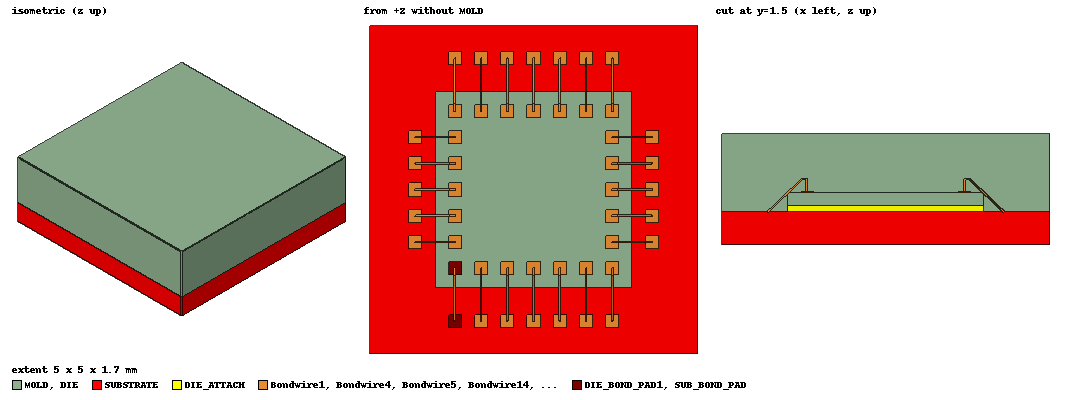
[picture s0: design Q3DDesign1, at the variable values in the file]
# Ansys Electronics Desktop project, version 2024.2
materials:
  vacuum: permittivity=1
  copper: permeability=0.999991 conductivity=58000000
  silicon: permittivity=11.9
  FR4_epoxy: permittivity=4.4 dielectric_loss_tangent=0.02
  modified_epoxy: permittivity=4.2 dielectric_loss_tangent=0.02
  Al-Extruded
  air: permittivity=1.0006 permeability=1.0000004
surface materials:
  Steel-oxidised-surface

design Q3DDesign1 (Q3D Extractor, model units mm)
options: SParamCalcMethod=EqTransLine Calculate_Lossy_Dielectrics
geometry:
  DIE [silicon] = rectangle(corner=(0mm, 0mm, 0mm), x_size=3mm, y_size=3mm)
  DIE.thicken(0.2mm)
  SUBSTRATE [FR4_epoxy] = rectangle(corner=(-1mm, -1mm, -0.1mm), x_size=5mm, y_size=5mm)
  SUBSTRATE.thicken(-0.5mm)
  DIE_ATTACH [modified_epoxy] = rectangle(corner=(0mm, 0mm, 0mm), x_size=3mm, y_size=3mm)
  DIE_ATTACH.thicken(-0.1mm)
  DIE_BOND_PAD [copper] = rectangle(corner=(0.2mm, 0.2mm, 0.2mm), x_size=0.2mm, y_size=0.2mm)
  DIE_BOND_PAD.thicken(0.005mm)
  SUB_BOND_PAD [copper] = rectangle(corner=(0.2mm, -0.6mm, -0.1mm), x_size=0.2mm, y_size=0.2mm)
  SUB_BOND_PAD.thicken(0.005mm)
  Bondwire1 [copper] = bondwire(WireType=JEDEC_4Points WireDiameter=0.025mm NumSides=6 XPadPos=0.3mm YPadPos=0.3mm ZPadPos=0.205mm XDir=0mm YDir=-0.8mm ZDir=0mm Distance=0.8mm h1=0.2mm h2=0.305mm alpha=80deg beta=80deg WhichAxis=Z)
  DIE_BOND_PAD1 [copper] = rectangle(corner=(0.2mm, 0.2mm, 0.2mm), x_size=0.2mm, y_size=0.2mm)
  DIE_BOND_PAD1.thicken(0.005mm)
  Rectangle1 [copper] = rectangle(corner=(0.6mm, 0.2mm, 0.2mm), x_size=0.2mm, y_size=0.2mm)
  Rectangle2 [copper] = rectangle(corner=(0.6mm, -0.6mm, -0.1mm), x_size=0.2mm, y_size=0.2mm)
  Rectangle3 [copper] = rectangle(corner=(1mm, 0.2mm, 0.2mm), x_size=0.2mm, y_size=0.2mm)
  Rectangle4 [copper] = rectangle(corner=(1mm, -0.6mm, -0.1mm), x_size=0.2mm, y_size=0.2mm)
  [Rectangle1, Rectangle2].thicken(0.005mm)
  Rectangle5 [copper] = rectangle(corner=(1.4mm, 0.2mm, 0.2mm), x_size=0.2mm, y_size=0.2mm)
  Rectangle6 [copper] = rectangle(corner=(1.4mm, -0.6mm, -0.1mm), x_size=0.2mm, y_size=0.2mm)
  Rectangle7 [copper] = rectangle(corner=(1.8mm, -0.6mm, -0.1mm), x_size=0.2mm, y_size=0.2mm)
  Rectangle8 [copper] = rectangle(corner=(1.8mm, 0.2mm, 0.2mm), x_size=0.2mm, y_size=0.2mm)
  Rectangle9 [copper] = rectangle(corner=(2.2mm, -0.6mm, -0.1mm), x_size=0.2mm, y_size=0.2mm)
  Rectangle10 [copper] = rectangle(corner=(2.2mm, 0.2mm, 0.2mm), x_size=0.2mm, y_size=0.2mm)
  Rectangle11 [copper] = rectangle(corner=(2.6mm, 0.2mm, 0.2mm), x_size=0.2mm, y_size=0.2mm)
  Rectangle12 [copper] = rectangle(corner=(2.6mm, -0.6mm, -0.1mm), x_size=0.2mm, y_size=0.2mm)
  Rectangle13 [copper] = rectangle(corner=(0.2mm, 2.6mm, 0.2mm), x_size=0.2mm, y_size=0.2mm)
  Rectangle14 [copper] = rectangle(corner=(0.2mm, 3.4mm, -0.1mm), x_size=0.2mm, y_size=0.2mm)
  Rectangle15 [copper] = rectangle(corner=(0.6mm, 2.6mm, 0.2mm), x_size=0.2mm, y_size=0.2mm)
  Rectangle16 [copper] = rectangle(corner=(0.6mm, 3.4mm, -0.1mm), x_size=0.2mm, y_size=0.2mm)
  Rectangle17 [copper] = rectangle(corner=(1mm, 2.6mm, 0.2mm), x_size=0.2mm, y_size=0.2mm)
  Rectangle18 [copper] = rectangle(corner=(1mm, 3.4mm, -0.1mm), x_size=0.2mm, y_size=0.2mm)
  Rectangle19 [copper] = rectangle(corner=(1.4mm, 2.6mm, 0.2mm), x_size=0.2mm, y_size=0.2mm)
  Rectangle20 [copper] = rectangle(corner=(1.4mm, 3.4mm, -0.1mm), x_size=0.2mm, y_size=0.2mm)
  Rectangle21 [copper] = rectangle(corner=(1.8mm, 2.6mm, 0.2mm), x_size=0.2mm, y_size=0.2mm)
  Rectangle22 [copper] = rectangle(corner=(1.8mm, 3.4mm, -0.1mm), x_size=0.2mm, y_size=0.2mm)
  Rectangle23 [copper] = rectangle(corner=(2.2mm, 2.6mm, 0.2mm), x_size=0.2mm, y_size=0.2mm)
  Rectangle24 [copper] = rectangle(corner=(2.2mm, 3.4mm, -0.1mm), x_size=0.2mm, y_size=0.2mm)
  Rectangle25 [copper] = rectangle(corner=(2.6mm, 2.6mm, 0.2mm), x_size=0.2mm, y_size=0.2mm)
  Rectangle26 [copper] = rectangle(corner=(2.6mm, 3.4mm, -0.1mm), x_size=0.2mm, y_size=0.2mm)
  [Rectangle3..Rectangle11, Rectangle13, Rectangle12, Rectangle14..Rectangle19, Rectangle21, Rectangle20, Rectangle22..Rectangle26].thicken(0.005mm)
  Rectangle27 [copper] = rectangle(corner=(2.6mm, 0.6mm, 0.2mm), x_size=0.2mm, y_size=0.2mm)
  Rectangle28 [copper] = rectangle(corner=(3.2mm, 0.6mm, -0.1mm), x_size=0.2mm, y_size=0.2mm)
  Rectangle29 [copper] = rectangle(corner=(2.6mm, 1mm, 0.2mm), x_size=0.2mm, y_size=0.2mm)
  Rectangle30 [copper] = rectangle(corner=(3.2mm, 1mm, -0.1mm), x_size=0.2mm, y_size=0.2mm)
  Rectangle31 [copper] = rectangle(corner=(2.6mm, 1.4mm, 0.2mm), x_size=0.2mm, y_size=0.2mm)
  Rectangle32 [copper] = rectangle(corner=(3.2mm, 1.4mm, -0.1mm), x_size=0.2mm, y_size=0.2mm)
  Rectangle33 [copper] = rectangle(corner=(2.6mm, 1.8mm, 0.2mm), x_size=0.2mm, y_size=0.2mm)
  Rectangle34 [copper] = rectangle(corner=(2.6mm, 2.2mm, 0.2mm), x_size=0.2mm, y_size=0.2mm)
  Rectangle35 [copper] = rectangle(corner=(3.2mm, 2.2mm, -0.1mm), x_size=0.2mm, y_size=0.2mm)
  Rectangle36 [copper] = rectangle(corner=(3.2mm, 1.8mm, -0.1mm), x_size=0.2mm, y_size=0.2mm)
  Rectangle37 [copper] = rectangle(corner=(0.2mm, 0.6mm, 0.2mm), x_size=0.2mm, y_size=0.2mm)
  Rectangle38 [copper] = rectangle(corner=(0.2mm, 1mm, 0.2mm), x_size=0.2mm, y_size=0.2mm)
  Rectangle39 [copper] = rectangle(corner=(0.2mm, 1.4mm, 0.2mm), x_size=0.2mm, y_size=0.2mm)
  Rectangle40 [copper] = rectangle(corner=(0.2mm, 1.8mm, 0.2mm), x_size=0.2mm, y_size=0.2mm)
  Rectangle41 [copper] = rectangle(corner=(0.2mm, 2.2mm, 0.2mm), x_size=0.2mm, y_size=0.2mm)
  Rectangle42 [copper] = rectangle(corner=(-0.4mm, 0.6mm, -0.1mm), x_size=0.2mm, y_size=0.2mm)
  Rectangle43 [copper] = rectangle(corner=(-0.4mm, 1mm, -0.1mm), x_size=0.2mm, y_size=0.2mm)
  Rectangle44 [copper] = rectangle(corner=(-0.4mm, 1.4mm, -0.1mm), x_size=0.2mm, y_size=0.2mm)
  Rectangle45 [copper] = rectangle(corner=(-0.4mm, 1.8mm, -0.1mm), x_size=0.2mm, y_size=0.2mm)
  Rectangle46 [copper] = rectangle(corner=(-0.4mm, 2.2mm, -0.1mm), x_size=0.2mm, y_size=0.2mm)
  [Rectangle27..Rectangle33, Rectangle35, Rectangle34, Rectangle37, Rectangle38, Rectangle39, Rectangle36, Rectangle40..Rectangle46].thicken(0.005mm)
  Bondwire2 [copper] = bondwire(WireType=JEDEC_4Points WireDiameter=0.025mm NumSides=6 XPadPos=0.7mm YPadPos=0.3mm ZPadPos=0.205mm XDir=0mm YDir=-0.8mm ZDir=0mm Distance=0.8mm h1=0.2mm h2=0.3mm alpha=80deg beta=80deg WhichAxis=Z)
  Bondwire3 [copper] = bondwire(WireType=JEDEC_4Points WireDiameter=0.025mm NumSides=6 XPadPos=1.1mm YPadPos=0.3mm ZPadPos=0.205mm XDir=0mm YDir=-0.8mm ZDir=0mm Distance=0.8mm h1=0.2mm h2=0.3mm alpha=80deg beta=80deg WhichAxis=Z)
  Bondwire4 [copper] = bondwire(WireType=JEDEC_4Points WireDiameter=0.025mm NumSides=6 XPadPos=1.5mm YPadPos=0.3mm ZPadPos=0.205mm XDir=-4.4408921e-16mm YDir=-0.8mm ZDir=0mm Distance=0.8mm h1=0.2mm h2=0.3mm alpha=80deg beta=80deg WhichAxis=Z)
  Bondwire5 [copper] = bondwire(WireType=JEDEC_4Points WireDiameter=0.025mm NumSides=6 XPadPos=1.9mm YPadPos=0.3mm ZPadPos=0.205mm XDir=-4.4408921e-16mm YDir=-0.8mm ZDir=0mm Distance=0.8mm h1=0.2mm h2=0.3mm alpha=80deg beta=80deg WhichAxis=Z)
  Bondwire6 [copper] = bondwire(WireType=JEDEC_4Points WireDiameter=0.025mm NumSides=6 XPadPos=2.3mm YPadPos=0.3mm ZPadPos=0.205mm XDir=0mm YDir=-0.8mm ZDir=0mm Distance=0.8mm h1=0.2mm h2=0.3mm alpha=80deg beta=80deg WhichAxis=Z)
  Bondwire7 [copper] = bondwire(WireType=JEDEC_4Points WireDiameter=0.025mm NumSides=6 XPadPos=2.7mm YPadPos=0.3mm ZPadPos=0.205mm XDir=0mm YDir=-0.8mm ZDir=0mm Distance=0.8mm h1=0.2mm h2=0.3mm alpha=80deg beta=80deg WhichAxis=Z)
  Bondwire8 [copper] = bondwire(WireType=JEDEC_4Points WireDiameter=0.025mm NumSides=6 XPadPos=2.7mm YPadPos=0.7mm ZPadPos=0.205mm XDir=0.6mm YDir=0mm ZDir=0mm Distance=0.6mm h1=0.2mm h2=0.3mm alpha=80deg beta=80deg WhichAxis=Z)
  Bondwire9 [copper] = bondwire(WireType=JEDEC_4Points WireDiameter=0.025mm NumSides=6 XPadPos=2.7mm YPadPos=1.1mm ZPadPos=0.205mm XDir=0.6mm YDir=0mm ZDir=0mm Distance=0.6mm h1=0.2mm h2=0.3mm alpha=80deg beta=80deg WhichAxis=Z)
  Bondwire10 [copper] = bondwire(WireType=JEDEC_4Points WireDiameter=0.025mm NumSides=6 XPadPos=2.7mm YPadPos=1.5mm ZPadPos=0.205mm XDir=0.6mm YDir=0mm ZDir=0mm Distance=0.6mm h1=0.2mm h2=0.3mm alpha=80deg beta=80deg WhichAxis=Z)
  Bondwire11 [copper] = bondwire(WireType=JEDEC_4Points WireDiameter=0.025mm NumSides=6 XPadPos=2.7mm YPadPos=1.9mm ZPadPos=0.205mm XDir=0.6mm YDir=0mm ZDir=0mm Distance=0.6mm h1=0.2mm h2=0.3mm alpha=80deg beta=80deg WhichAxis=Z)
  Bondwire12 [copper] = bondwire(WireType=JEDEC_4Points WireDiameter=0.025mm NumSides=6 XPadPos=2.7mm YPadPos=2.3mm ZPadPos=0.205mm XDir=0.6mm YDir=0mm ZDir=0mm Distance=0.6mm h1=0.2mm h2=0.3mm alpha=80deg beta=80deg WhichAxis=Z)
  Bondwire13 [copper] = bondwire(WireType=JEDEC_4Points WireDiameter=0.025mm NumSides=6 XPadPos=2.7mm YPadPos=2.7mm ZPadPos=0.205mm XDir=0mm YDir=0.8mm ZDir=0mm Distance=0.8mm h1=0.2mm h2=0.3mm alpha=80deg beta=80deg WhichAxis=Z)
  Bondwire14 [copper] = bondwire(WireType=JEDEC_4Points WireDiameter=0.025mm NumSides=6 XPadPos=2.3mm YPadPos=2.7mm ZPadPos=0.205mm XDir=4.4408921e-16mm YDir=0.8mm ZDir=0mm Distance=0.8mm h1=0.2mm h2=0.3mm alpha=80deg beta=80deg WhichAxis=Z)
  Bondwire15 [copper] = bondwire(WireType=JEDEC_4Points WireDiameter=0.025mm NumSides=6 XPadPos=1.9mm YPadPos=2.7mm ZPadPos=0.205mm XDir=-4.4408921e-16mm YDir=0.8mm ZDir=0mm Distance=0.8mm h1=0.2mm h2=0.3mm alpha=80deg beta=80deg WhichAxis=Z)
  Bondwire16 [copper] = bondwire(WireType=JEDEC_4Points WireDiameter=0.025mm NumSides=6 XPadPos=1.5mm YPadPos=2.7mm ZPadPos=0.205mm XDir=-2.220446e-16mm YDir=0.8mm ZDir=0mm Distance=0.8mm h1=0.2mm h2=0.3mm alpha=80deg beta=80deg WhichAxis=Z)
  Bondwire17 [copper] = bondwire(WireType=JEDEC_4Points WireDiameter=0.025mm NumSides=6 XPadPos=1.1mm YPadPos=2.7mm ZPadPos=0.205mm XDir=-2.220446e-16mm YDir=0.8mm ZDir=0mm Distance=0.8mm h1=0.2mm h2=0.3mm alpha=80deg beta=80deg WhichAxis=Z)
  Bondwire18 [copper] = bondwire(WireType=JEDEC_4Points WireDiameter=0.025mm NumSides=6 XPadPos=0.7mm YPadPos=2.7mm ZPadPos=0.205mm XDir=0mm YDir=0.8mm ZDir=0mm Distance=0.8mm h1=0.2mm h2=0.3mm alpha=80deg beta=80deg WhichAxis=Z)
  Bondwire19 [copper] = bondwire(WireType=JEDEC_4Points WireDiameter=0.025mm NumSides=6 XPadPos=0.3mm YPadPos=2.7mm ZPadPos=0.205mm XDir=5.5511151e-17mm YDir=0.8mm ZDir=0mm Distance=0.8mm h1=0.2mm h2=0.3mm alpha=80deg beta=80deg WhichAxis=Z)
  Bondwire20 [copper] = bondwire(WireType=JEDEC_4Points WireDiameter=0.025mm NumSides=6 XPadPos=0.3mm YPadPos=2.3mm ZPadPos=0.205mm XDir=-0.6mm YDir=0mm ZDir=0mm Distance=0.6mm h1=0.2mm h2=0.3mm alpha=80deg beta=80deg WhichAxis=Z)
  Bondwire21 [copper] = bondwire(WireType=JEDEC_4Points WireDiameter=0.025mm NumSides=6 XPadPos=0.3mm YPadPos=1.9mm ZPadPos=0.205mm XDir=-0.6mm YDir=0mm ZDir=0mm Distance=0.6mm h1=0.2mm h2=0.3mm alpha=80deg beta=80deg WhichAxis=Z)
  Bondwire22 [copper] = bondwire(WireType=JEDEC_4Points WireDiameter=0.025mm NumSides=6 XPadPos=0.3mm YPadPos=1.5mm ZPadPos=0.205mm XDir=-0.6mm YDir=0mm ZDir=0mm Distance=0.6mm h1=0.2mm h2=0.3mm alpha=80deg beta=80deg WhichAxis=Z)
  Bondwire23 [copper] = bondwire(WireType=JEDEC_4Points WireDiameter=0.025mm NumSides=6 XPadPos=0.3mm YPadPos=1.1mm ZPadPos=0.205mm XDir=-0.6mm YDir=0mm ZDir=0mm Distance=0.6mm h1=0.2mm h2=0.3mm alpha=80deg beta=80deg WhichAxis=Z)
  Bondwire24 [copper] = bondwire(WireType=JEDEC_4Points WireDiameter=0.025mm NumSides=6 XPadPos=0.3mm YPadPos=0.7mm ZPadPos=0.205mm XDir=-0.6mm YDir=0mm ZDir=0mm Distance=0.6mm h1=0.2mm h2=0.3mm alpha=80deg beta=80deg WhichAxis=Z)
  MOLD [modified_epoxy] = rectangle(corner=(-1mm, -1mm, -0.1mm), x_size=5mm, y_size=5mm)
  MOLD.thicken(1.2mm)
